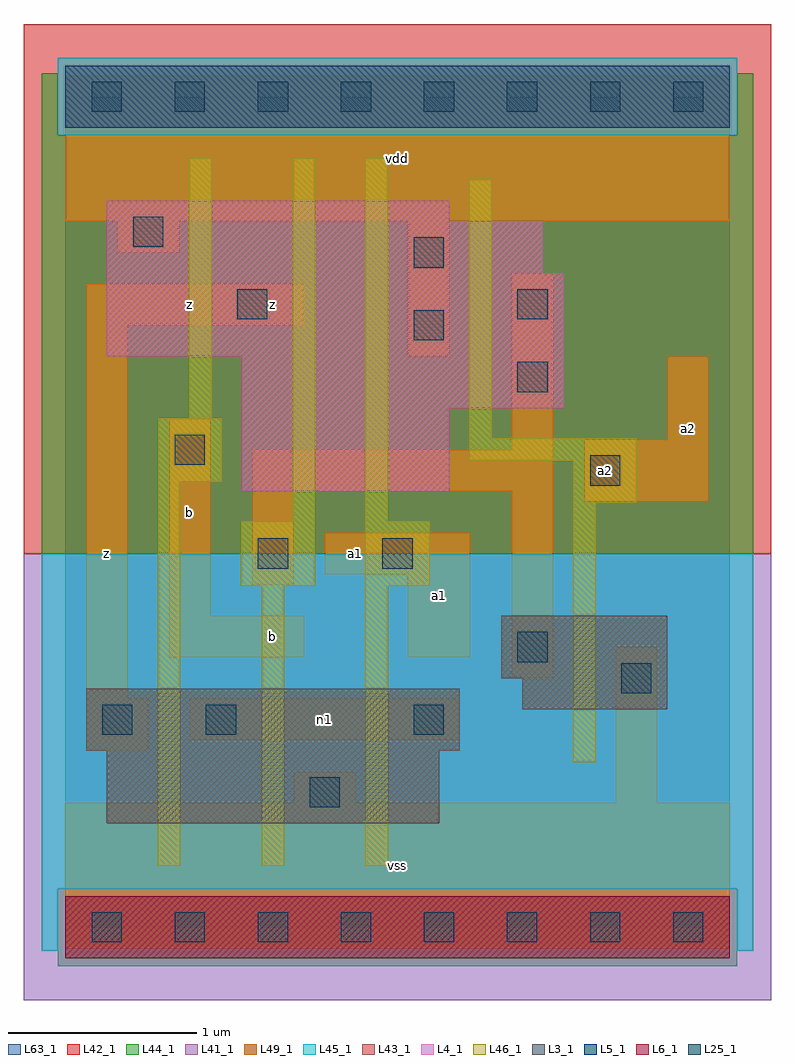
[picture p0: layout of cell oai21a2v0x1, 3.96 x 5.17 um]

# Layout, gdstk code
import gdstk
lib = gdstk.Library(unit=1e-6, precision=1e-09)
def R(c, l, rs):  # rectangles x0, y0, x1, y1
    for r in rs: c.add(gdstk.rectangle(r[:2], r[2:], *l))
def A(c, l, x, y, w, h, nx, ny, dx, dy):  # array of equal rectangles
    R(c, l, [(x+i*dx, y+j*dy, x+i*dx+w, y+j*dy+h) for i in range(nx) for j in range(ny)])
L3_1 = (3, 1)
L4_1 = (4, 1)
L5_1 = (5, 1)
L6_1 = (6, 1)
L25_1 = (25, 1)
L41_1 = (41, 1)
L42_1 = (42, 1)
L43_1 = (43, 1)
L44_1 = (44, 1)
L45_1 = (45, 1)
L46_1 = (46, 1)
L49_1 = (49, 1)
L63_1 = (63, 1)

oai21a2v0x1 = lib.new_cell('oai21a2v0x1')
R(oai21a2v0x1, L3_1, [(0.22,0.55,1.98,0.935), (0.11,0.935,2.09,1.265), (2.42,1.155,3.19,1.32), (2.31,1.32,3.19,1.65)])
R(oai21a2v0x1, L4_1, [(0.935,2.31,2.035,2.75), (0.935,2.75,2.64,3.025), (0.22,3.025,2.64,3.465), (0.22,3.465,2.53,3.74), (0.22,3.74,2.035,3.85)])
R(oai21a2v0x1, L5_1, [(0,4.235,3.52,4.565)])
R(oai21a2v0x1, L6_1, [(0,-0.165,3.52,0.165)])
A(oai21a2v0x1, L25_1, 0.14, -0.08, 0.16, 0.16, 8, 2, 0.44, 4.4)
R(oai21a2v0x1, L25_1, [(1.295,0.635,1.455,0.795), (0.195,1.02,0.355,1.18), (0.745,1.02,0.905,1.18), (1.845,1.02,2.005,1.18), (2.945,1.24,3.105,1.4), (2.395,1.405,2.555,1.565), (1.02,1.9,1.18,2.06), (1.68,1.9,1.84,2.06), (2.78,2.34,2.94,2.5), (0.58,2.45,0.74,2.61), (2.395,2.835,2.555,2.995), (1.845,3.11,2.005,3.27), (0.91,3.22,1.07,3.38), (2.395,3.22,2.555,3.38), (1.845,3.495,2.005,3.655), (0.36,3.605,0.52,3.765)])
R(oai21a2v0x1, L41_1, [(-0.22,-0.385,3.74,1.98)])
R(oai21a2v0x1, L42_1, [(-0.22,1.98,3.74,4.785)])
R(oai21a2v0x1, L43_1, [(0,-0.165,3.52,0.165), (0.22,0.55,1.98,0.935), (0.11,0.935,2.09,1.265), (2.42,1.155,3.19,1.32), (2.31,1.32,3.19,1.65), (0.935,2.31,2.035,2.75), (0.935,2.75,2.64,3.025), (0.22,3.025,2.64,3.465), (0.22,3.465,2.53,3.74), (0.22,3.74,2.035,3.85), (0,4.235,3.52,4.565)])
R(oai21a2v0x1, L44_1, [(-0.04,-0.205,3.56,0.205), (-0.125,1.98,3.645,4.195), (-0.125,4.195,-0.04,4.525), (3.56,4.195,3.645,4.525)])
R(oai21a2v0x1, L45_1, [(-0.125,-0.125,-0.04,0.205), (3.56,-0.125,3.645,0.205), (-0.125,0.205,3.645,1.98), (-0.04,4.195,3.56,4.605)])
R(oai21a2v0x1, L46_1, [(0.49,0.325,0.61,2.36), (1.04,0.325,1.16,1.81), (1.59,0.325,1.71,1.81), (2.69,0.875,2.81,2.25), (0.93,1.81,1.325,2.15), (1.59,1.81,1.93,2.15), (1.205,2.15,1.325,4.075), (1.59,2.15,1.71,4.075), (2.69,2.25,3.03,2.47), (0.49,2.36,0.83,2.7), (2.14,2.47,3.03,2.59), (2.14,2.59,2.26,3.965), (0.655,2.7,0.775,4.075)])
R(oai21a2v0x1, L49_1, [(0,-0.11,3.52,0.66), (1.21,0.66,1.54,0.825), (2.915,0.66,3.135,1.485), (0.11,0.935,0.44,1.21), (0.66,0.99,2.09,1.21), (0.11,1.21,0.33,3.19), (2.365,1.32,2.585,2.31), (0.55,1.43,1.265,1.65), (1.815,1.43,2.145,1.87), (0.55,1.65,0.77,2.695), (0.99,1.815,1.21,2.31), (1.375,1.87,2.145,2.09), (2.75,2.255,3.41,2.585), (0.99,2.31,2.585,2.53), (2.365,2.53,2.585,3.465), (3.19,2.585,3.41,3.025), (1.815,3.025,2.035,3.74), (0.11,3.19,1.265,3.41), (0.275,3.575,0.605,3.74), (0,3.74,3.52,4.51)])
R(oai21a2v0x1, L63_1, [(0,0,3.52,4.4)])
oai21a2v0x1.add(gdstk.Label('z', (0.22,1.98), layer=49, texttype=1))
oai21a2v0x1.add(gdstk.Label('b', (0.66,2.2), layer=49, texttype=1))
oai21a2v0x1.add(gdstk.Label('z', (0.66,3.3), layer=49, texttype=1))
oai21a2v0x1.add(gdstk.Label('b', (1.1,1.54), layer=49, texttype=1))
oai21a2v0x1.add(gdstk.Label('a1', (1.54,1.98), layer=49, texttype=1))
oai21a2v0x1.add(gdstk.Label('z', (1.1,3.3), layer=49, texttype=1))
oai21a2v0x1.add(gdstk.Label('vss', (1.76,0.33), layer=49, texttype=1))
oai21a2v0x1.add(gdstk.Label('n1', (1.375,1.1), layer=49, texttype=1))
oai21a2v0x1.add(gdstk.Label('a1', (1.98,1.76), layer=49, texttype=1))
oai21a2v0x1.add(gdstk.Label('vdd', (1.76,4.07), layer=49, texttype=1))
oai21a2v0x1.add(gdstk.Label('a2', (2.86,2.42), layer=49, texttype=1))
oai21a2v0x1.add(gdstk.Label('a2', (3.3,2.64), layer=49, texttype=1))

lib.write_gds('oai21a2v0x1.gds')
